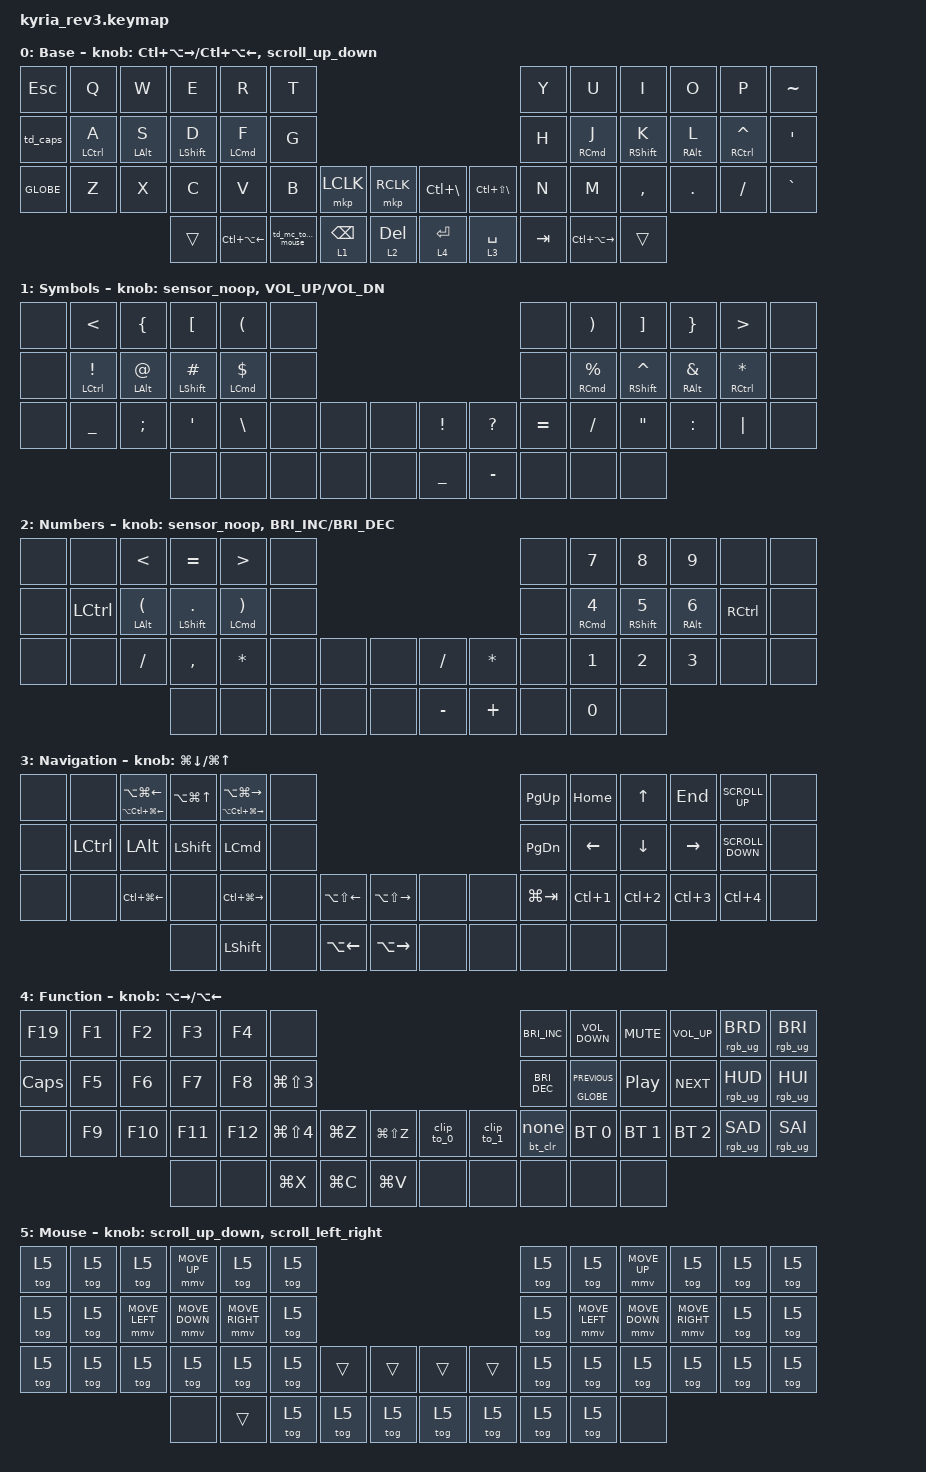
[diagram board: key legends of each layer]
#include <dt-bindings/zmk/mouse.h>
#include "zmk-helpers/key-labels/kyria.h"
#include <behaviors.dtsi>
#include <dt-bindings/zmk/bt.h>
#include <dt-bindings/zmk/keys.h>
#include <dt-bindings/zmk/pointing.h>
#include <dt-bindings/zmk/rgb.h>

#define KEYS_L LT0 LT1 LT2 LT3 LT4 LT5 LM0 LM1 LM2 LM3 LM4 LM5 LB0 LB1 LB2 LB3 LB4 LB5
#define KEYS_R RT0 RT1 RT2 RT3 RT4 RT5 RM0 RM1 RM2 RM3 RM4 RM5 RB0 RB1 RB2 RB3 RB4 RB5
#define KEYS_LT LH0 LH1 LH2 LH3 LH4
#define KEYS_RT RH0 RH1 RH2 RH3 RH4
#define HM_TAPPING_TERM 300
#define HM_TAPPING_TERM_FAST 200
#define HM_PRIOR_IDLE 100

// caps_clear parameters
#define CAPS_CLEAR_TAP 0   // clear whichever caps state is on, else sticky shift
#define CAPS_CLEAR_WORD 1  // toggle caps word

// Karabiner maps this to `clipsync push`, which sends the host's clipboard to
// the other Mac. The keyboard cannot read a clipboard itself, so the host does
// the work and this is only the trigger.
#define CLIP_PUSH LC(LA(LG(V)))

&led_strip {
    chain-length = <6>;
    chain-length = <31>;
};

// Mouse behavior customization

&mmv {
    acceleration-exponent = <1>;
    time-to-max-speed-ms = <500>;
    delay-ms = <0>;
};

// Mouse scroll behavior customization

&msc {
    time-to-max-speed-ms = <0>;
    acceleration-exponent = <0>;
};

// Set the knob scroll amount

#undef ZMK_POINTING_DEFAULT_SCRL_VAL

#define ZMK_POINTING_DEFAULT_SCRL_VAL 60

#undef ZMK_POINTING_DEFAULT_MOVE_VAL

#define ZMK_POINTING_DEFAULT_MOVE_VAL 1000

/ {
    macros {
        lm: layer_mod {
            compatible = "zmk,behavior-macro-two-param";
            #binding-cells = <2>;
            wait-ms = <0>;
            tap-ms = <0>;
            bindings =
                <&macro_param_1to1>,
                <&macro_press>,
                <&mo MACRO_PLACEHOLDER &macro_param_2to1>,
                <&macro_press>,
                <&kp MACRO_PLACEHOLDER>,
                <&macro_pause_for_release>,
                <&macro_param_2to1>,
                <&macro_release>,
                <&kp MACRO_PLACEHOLDER &macro_param_1to1>,
                <&macro_release>,
                <&mo MACRO_PLACEHOLDER>;
        };

        // Wrapped so ht_bt_clr can hold it without spending its single
        // forwardable parameter on the bt command.
        bt_clr: bt_clr {
            compatible = "zmk,behavior-macro";
            #binding-cells = <0>;
            bindings = <&bt BT_CLR>;
        };

        // Send the clipboard to the other Mac, then follow it there. The pause
        // only has to outlast delivery of the keystroke over BLE; the push runs
        // on the host afterwards and is unaffected by the profile switch.
        clip_to_0: clip_to_0 {
            compatible = "zmk,behavior-macro";
            #binding-cells = <0>;
            wait-ms = <300>;
            bindings = <&kp CLIP_PUSH>, <&bt BT_SEL 0>;
        };

        clip_to_1: clip_to_1 {
            compatible = "zmk,behavior-macro";
            #binding-cells = <0>;
            wait-ms = <300>;
            bindings = <&kp CLIP_PUSH>, <&bt BT_SEL 1>;
        };
    };

    behaviors {
        scroll_up_down: behavior_sensor_rotate_mouse_wheel_up_down {
            compatible = "zmk,behavior-sensor-rotate";
            #sensor-binding-cells = <0>;
            bindings = <&msc SCRL_UP>, <&msc SCRL_DOWN>;

            tap-ms = <60>; // Tap duration for scrolling
        };

        scroll_left_right: behavior_sensor_rotate_mouse_wheel_left_right {
            compatible = "zmk,behavior-sensor-rotate";
            #sensor-binding-cells = <0>;
            bindings = <&msc SCRL_LEFT>, <&msc SCRL_RIGHT>;

            tap-ms = <60>; // Tap duration for scrolling
        };

        sensor_noop: behavior_sensor_rotate_noop {
            compatible = "zmk,behavior-sensor-rotate";
            #sensor-binding-cells = <0>;
            bindings = <&none>, <&none>;
        };

        hm_l: homerow_mods_left {
            compatible = "zmk,behavior-hold-tap";
            #binding-cells = <2>;
            bindings = <&kp>, <&kp>;

            flavor = "balanced";
            tapping-term-ms = <HM_TAPPING_TERM_FAST>;
            quick-tap-ms = <175>;                // repeat on tap-into-hold
            require-prior-idle-ms = <HM_PRIOR_IDLE>;
            hold-trigger-key-positions = <KEYS_R KEYS_RT>;
            hold-trigger-on-release;
        };

        hm_r: homerow_mods_right {
            compatible = "zmk,behavior-hold-tap";
            #binding-cells = <2>;
            bindings = <&kp>, <&kp>;

            flavor = "balanced";
            tapping-term-ms = <HM_TAPPING_TERM_FAST>;
            quick-tap-ms = <175>;
            require-prior-idle-ms = <HM_PRIOR_IDLE>;
            hold-trigger-key-positions = <KEYS_L KEYS_LT>;
            hold-trigger-on-release;
        };

        td_mc_toggle_mouse: tap_dance_mc_toggle_mouse {
            compatible = "zmk,behavior-tap-dance";
            #binding-cells = <0>;
            tapping-term-ms = <200>;
            bindings = <&mkp MCLK>, <&tog 5>;
        };

        caps_clear: caps_clear {
            compatible = "zmk,behavior-caps-clear";
            #binding-cells = <1>;
            bindings = <&kp CAPS>, <&sk LSHFT>, <&caps_word>;
        };

        td_caps: tap_dance_caps {
            compatible = "zmk,behavior-tap-dance";
            #binding-cells = <0>;
            tapping-term-ms = <250>;
            bindings = <&caps_clear CAPS_CLEAR_TAP>, <&caps_clear CAPS_CLEAR_WORD>;
        };

        ht_bt_clr: hold_tap_bt_clr {
            compatible = "zmk,behavior-hold-tap";
            #binding-cells = <2>;
            bindings = <&bt_clr>, <&none>;

            flavor = "tap-preferred";
            tapping-term-ms = <1000>;    // hold a full second to clear; a tap does nothing
        };
    };

    combos {
        compatible = "zmk,combos";

        DelPrevWord {
            bindings = <&kp LA(BACKSPACE)>;
            key-positions = <30 43>;
            layers = <3>;
        };

        DelNextWord {
            bindings = <&kp LA(DELETE)>;
            key-positions = <31 44>;
            layers = <3>;
        };

        MissionControl {
            bindings = <&kp LC(UP)>;
            key-positions = <7 8 9>;
            layers = <0>;
        };

        NextTab {
            bindings = <&kp LC(TAB)>;
            key-positions = <33 46>;
            layers = <0>;
        };

        PreviousTab {
            bindings = <&kp LC(LS(TAB))>;
            key-positions = <30 43>;
            layers = <0>;
        };

        FocusNextPane {
            bindings = <&kp LC(RIGHT)>;
            key-positions = <32 45>;
            layers = <0>;
        };

        FocusPreviousPane {
            bindings = <&kp LC(LEFT)>;
            key-positions = <31 44>;
            layers = <0>;
        };

        IndentSelection {
            bindings = <&kp LG(RIGHT_BRACKET)>;
            key-positions = <33 46>;
            layers = <1>;
        };

        DedentSelection {
            bindings = <&kp LG(LEFT_BRACKET)>;
            key-positions = <32 45>;
            layers = <1>;
        };

        DeleteSelection {
            bindings = <&kp LS(DELETE)>;
            key-positions = <4 3 2>;
            layers = <0>;
        };

        DuplicateSelection {
            bindings = <&kp LG(LS(D))>;
            key-positions = <26 27 28>;
            layers = <0>;
        };

        SearchBar {
            bindings = <&kp LG(SPACE)>;
            key-positions = <35 36 37>;
        };

        CommentSelectedLines {
            bindings = <&kp LG(SLASH)>;
            key-positions = <32 45>;
            layers = <2>;
        };

        EqualSign {
            bindings = <&kp EQUAL>;
            key-positions = <33 46>;
            layers = <2>;
        };
    };

    keymap {
        compatible = "zmk,keymap";

        base_layer {
            bindings = <
&kp ESC         &kp Q          &kp W             &kp E               &kp R                 &kp T                                                                                         &kp Y    &kp U                  &kp I                &kp O              &kp P              &kp TILDE
&td_caps        &hm_l LCTRL A  &hm_l LEFT_ALT S  &hm_l LEFT_SHIFT D  &hm_l LEFT_COMMAND F  &kp G                                                                                         &kp H    &hm_r RIGHT_COMMAND J  &hm_r RIGHT_SHIFT K  &hm_r RIGHT_ALT L  &hm_r RCTRL CARET  &kp SQT
&kp GLOBE       &kp Z          &kp X             &kp C               &kp V                 &kp B                &mkp LCLK        &mkp RCLK     &kp LC(BACKSLASH)  &kp LC(LS(BACKSLASH))  &kp N    &kp M                  &kp COMMA            &kp DOT            &kp SLASH          &kp GRAVE
                                                 &trans              &kp LC(LA(LEFT))      &td_mc_toggle_mouse  &lt 1 BACKSPACE  &lt 2 DELETE  &lt 4 ENTER        &lt 3 SPACE            &kp TAB  &kp LC(LA(RIGHT))      &trans
            >;

            sensor-bindings =
                <&inc_dec_kp LC(LA(RIGHT)) LC(LA(LEFT))>,
                <&scroll_up_down>;

            label = "Base";
        };

        symbols_layer {
            bindings = <
&none  &kp LT                   &kp LEFT_BRACE          &kp LEFT_BRACKET       &kp LEFT_PARENTHESIS       &none                                               &none      &kp RIGHT_PARENTHESIS        &kp RIGHT_BRACKET        &kp RIGHT_BRACE       &kp GREATER_THAN  &none
&none  &hm_l LCTRL EXCLAMATION  &hm_l LEFT_ALT AT_SIGN  &hm_l LEFT_SHIFT HASH  &hm_l LEFT_COMMAND DOLLAR  &none                                               &none      &hm_r RIGHT_COMMAND PERCENT  &hm_r RIGHT_SHIFT CARET  &hm_r RIGHT_ALT AMPS  &hm_r RCTRL STAR  &none
&none  &kp UNDERSCORE           &kp SEMICOLON           &kp SINGLE_QUOTE       &kp BACKSLASH              &none  &none  &none  &kp EXCLAMATION  &kp QUESTION  &kp EQUAL  &kp SLASH                    &kp DOUBLE_QUOTES        &kp COLON             &kp PIPE          &none
                                                        &none                  &none                      &none  &none  &none  &kp UNDERSCORE   &kp MINUS     &none      &none                        &none
            >;

            sensor-bindings = <&sensor_noop>, <&inc_dec_kp C_VOL_UP C_VOL_DN>;

            label = "Symbols";
        };

        num_layer {
            bindings = <
&none  &none      &kp LESS_THAN                    &kp EQUAL                &kp GREATER_THAN                      &none                                     &none  &kp NUMBER_7                  &kp NUMBER_8                &kp NUMBER_9              &none      &none
&none  &kp LCTRL  &hm_l LEFT_ALT LEFT_PARENTHESIS  &hm_l LEFT_SHIFT PERIOD  &hm_l LEFT_COMMAND RIGHT_PARENTHESIS  &none                                     &none  &hm_r RIGHT_COMMAND NUMBER_4  &hm_r RIGHT_SHIFT NUMBER_5  &hm_r RIGHT_ALT NUMBER_6  &kp RCTRL  &none
&none  &none      &kp SLASH                        &kp COMMA                &kp ASTERISK                          &none  &none  &none  &kp SLASH  &kp STAR  &none  &kp NUMBER_1                  &kp NUMBER_2                &kp NUMBER_3              &none      &none
                                                   &none                    &none                                 &none  &none  &none  &kp MINUS  &kp PLUS  &none  &kp N0                        &none
            >;

            sensor-bindings = <&sensor_noop>, <&inc_dec_kp C_BRI_INC C_BRI_DEC>;

            label = "Numbers";
        };

        nav_layer {
            bindings = <
&none  &none      &hm_l LA(LC(LG(LEFT))) LA(LG(LEFT))  &kp LA(LG(UP_ARROW))  &hm_l LA(LC(LG(RIGHT))) LA(LG(RIGHT))  &none                                                     &kp PG_UP    &kp HOME          &kp UP            &kp END           &kp K_SCROLL_UP    &none
&none  &kp LCTRL  &kp LEFT_ALT                         &kp LEFT_SHIFT        &kp LEFT_COMMAND                       &none                                                     &kp PG_DN    &kp LEFT          &kp DOWN          &kp RIGHT         &kp K_SCROLL_DOWN  &none
&none  &none      &kp LC(LG(LEFT_ARROW))               &none                 &kp LC(LG(RIGHT))                      &none  &kp LA(LS(LEFT))  &kp LA(LS(RIGHT))  &none  &none  &kp LG(TAB)  &kp LC(NUMBER_1)  &kp LC(NUMBER_2)  &kp LC(NUMBER_3)  &kp LC(NUMBER_4)   &none
                                                       &none                 &kp LEFT_SHIFT                         &none  &kp LA(LEFT)      &kp LA(RIGHT)      &none  &none  &none        &none             &none
            >;

            sensor-bindings = <&inc_dec_kp LG(DOWN) LG(UP)>;
            label = "Navigation";
        };

        special_layer {
            bindings = <
&kp F19               &kp F1  &kp F2   &kp F3   &kp F4   &none                                              &kp C_BRI_INC  &kp C_VOLUME_DOWN       &kp C_MUTE        &kp C_VOLUME_UP  &rgb_ug RGB_BRD  &rgb_ug RGB_BRI
&kp CAPS              &kp F5  &kp F6   &kp F7   &kp F8   &kp LG(LS(NUMBER_3))                               &kp C_BRI_DEC  &hm_r GLOBE C_PREVIOUS  &kp C_PLAY_PAUSE  &kp C_NEXT       &rgb_ug RGB_HUD  &rgb_ug RGB_HUI
&none                 &kp F9  &kp F10  &kp F11  &kp F12  &kp LG(LS(NUMBER_4))  &kp LG(Z)  &kp LG(LS(Z))  &clip_to_0  &clip_to_1  &ht_bt_clr 0 0 &bt BT_SEL 0            &bt BT_SEL 1      &bt BT_SEL 2     &rgb_ug RGB_SAD  &rgb_ug RGB_SAI
                                       &none    &none    &kp LG(X)  &kp LG(C)  &kp LG(V)      &none  &none  &none          &none                   &none
            >;

            // Set the knob scroll amount

            sensor-bindings = <&inc_dec_kp LA(RIGHT) LA(LEFT)>;
            label = "Function";
        };

        mouse_layer {
            bindings = <
&tog 5  &tog 5  &tog 5          &mmv MOVE_UP    &tog 5           &tog 5                                  &tog 5  &tog 5          &mmv MOVE_UP    &tog 5           &tog 5  &tog 5
&tog 5  &tog 5  &mmv MOVE_LEFT  &mmv MOVE_DOWN  &mmv MOVE_RIGHT  &tog 5                                  &tog 5  &mmv MOVE_LEFT  &mmv MOVE_DOWN  &mmv MOVE_RIGHT  &tog 5  &tog 5
&tog 5  &tog 5  &tog 5          &tog 5          &tog 5           &tog 5  &trans  &trans  &trans  &trans  &tog 5  &tog 5          &tog 5          &tog 5           &tog 5  &tog 5
                                &none           &trans           &tog 5  &tog 5  &tog 5  &tog 5  &tog 5  &tog 5  &tog 5          &none
            >;

            sensor-bindings = <&scroll_up_down>, <&scroll_left_right>;

            label = "Mouse";
        };
    };
};
